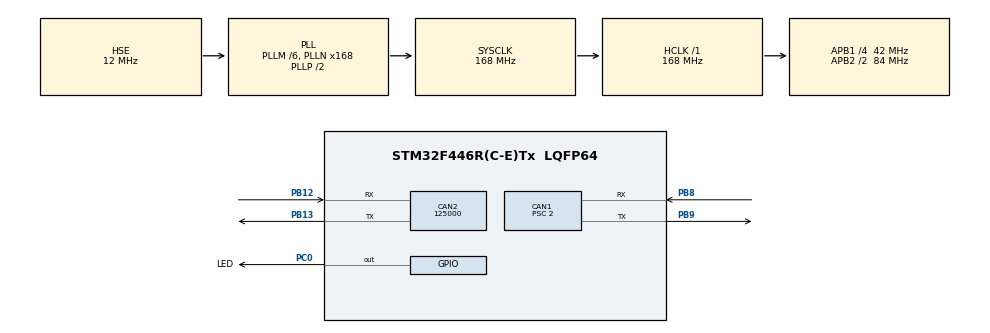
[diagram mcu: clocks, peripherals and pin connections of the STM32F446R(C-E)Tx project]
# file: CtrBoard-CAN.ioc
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CAN1.BS1=CAN_BS1_15TQ
CAN1.BS2=CAN_BS2_5TQ
CAN1.CalculateBaudRate=1000000
CAN1.CalculateTimeQuantum=47.61904761904762
CAN1.Prescaler=2
CAN2.BS1=CAN_BS1_15TQ
CAN2.BS2=CAN_BS2_5TQ
CAN2.CalculateBaudRate=125000
CAN2.CalculateTimeBit=8000
CAN2.CalculateTimeQuantum=380.95238095238096
Mcu.Family=STM32F4
Mcu.Name=STM32F446R(C-E)Tx
Mcu.Package=LQFP64
NVIC.CAN1_RX0_IRQn=true\:0\:0\:false\:false\:true\:true\:true\:true
NVIC.PriorityGroup=NVIC_PRIORITYGROUP_4
PA13.Mode=Serial_Wire
PA13.Signal=SYS_JTMS-SWDIO
PA14.Mode=Serial_Wire
PA14.Signal=SYS_JTCK-SWCLK
PB12.Mode=CAN_Activate
PB12.Signal=CAN2_RX
PB13.Mode=CAN_Activate
PB13.Signal=CAN2_TX
PB8.Mode=CAN_Activate
PB8.Signal=CAN1_RX
PB9.Mode=CAN_Activate
PB9.Signal=CAN1_TX
PC0.GPIO_Label=LED
PC0.GPIO_ModeDefaultOutputPP=GPIO_MODE_OUTPUT_PP
PC0.GPIO_PuPd=GPIO_NOPULL
PC0.GPIO_Speed=GPIO_SPEED_FREQ_LOW
PC0.PinState=GPIO_PIN_RESET
PC0.Signal=GPIO_Output
PH0-OSC_IN.Mode=HSE-External-Oscillator
PH0-OSC_IN.Signal=RCC_OSC_IN
PH1-OSC_OUT.Mode=HSE-External-Oscillator
PH1-OSC_OUT.Signal=RCC_OSC_OUT
ProjectManager.HeapSize=0x400
ProjectManager.StackSize=0x800
ProjectManager.TargetToolchain=MDK-ARM V5.27
RCC.AHBFreq_Value=168000000
RCC.APB1CLKDivider=RCC_HCLK_DIV4
RCC.APB1Freq_Value=42000000
RCC.APB1TimFreq_Value=84000000
RCC.APB2CLKDivider=RCC_HCLK_DIV2
RCC.APB2Freq_Value=84000000
RCC.APB2TimFreq_Value=168000000
RCC.CortexFreq_Value=168000000
RCC.HCLKFreq_Value=168000000
RCC.HSE_VALUE=12000000
RCC.PLLM=6
RCC.PLLN=168
RCC.PLLQ=7
RCC.PLLSAIM=6
RCC.PLLSAIN=96
RCC.PLLSAIP=RCC_PLLSAIP_DIV4
RCC.PLLSourceVirtual=RCC_PLLSOURCE_HSE
RCC.SYSCLKFreq_VALUE=168000000
RCC.SYSCLKSource=RCC_SYSCLKSOURCE_PLLCLK
RCC.USBFreq_Value=48000000
RCC.VCOOutputFreq_Value=336000000
board=custom

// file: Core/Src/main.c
/* USER CODE BEGIN Header */
/**
  ******************************************************************************
  * @file           : main.c
  * @brief          : Main program body
  ******************************************************************************
  * @attention
  *
  * <h2><center>&copy; Copyright (c) 2023 STMicroelectronics.
  * All rights reserved.</center></h2>
  *
  * This software component is licensed by ST under BSD 3-Clause license,
  * the "License"; You may not use this file except in compliance with the
  * License. You may obtain a copy of the License at:
  *                        opensource.org/licenses/BSD-3-Clause
  *
  ******************************************************************************
  */
/* USER CODE END Header */
#include "main.h"
#include "can.h"
#include "gpio.h"

void SystemClock_Config(void);

/* USER CODE BEGIN 0 */
uint8_t CANx_SendStdData(CAN_HandleTypeDef* hcan,uint16_t ID,uint8_t *pData,uint16_t Len);
uint8_t Data[8]={0,1,2,3,4,5,6,7};
extern CAN_HandleTypeDef hcan1;
extern CAN_HandleTypeDef hcan2;
/* USER CODE END 0 */

int main(void)
{

  /* MCU Configuration--------------------------------------------------------*/

  /* Reset of all peripherals, Initializes the Flash interface and the Systick. */
  HAL_Init();

  /* Configure the system clock */
  SystemClock_Config();

  /* Initialize all configured peripherals */
  MX_GPIO_Init();
  MX_CAN1_Init();
  MX_CAN2_Init();
  /* USER CODE BEGIN 2 */
  can_filter_init();

  /* USER CODE END 2 */

  /* Infinite loop */
  while (1)
  {

    /* USER CODE BEGIN 3 */
    CANx_SendStdData(&hcan1,1,Data,8);
    CANx_SendStdData(&hcan2,2,Data,8);
    HAL_Delay(100);
  }
  /* USER CODE END 3 */
}

void SystemClock_Config(void)
{
  RCC_OscInitTypeDef RCC_OscInitStruct = {0};
  RCC_ClkInitTypeDef RCC_ClkInitStruct = {0};

  /** Configure the main internal regulator output voltage
  */
  __HAL_RCC_PWR_CLK_ENABLE();
  __HAL_PWR_VOLTAGESCALING_CONFIG(PWR_REGULATOR_VOLTAGE_SCALE1);

  /** Initializes the RCC Oscillators according to the specified parameters
  * in the RCC_OscInitTypeDef structure.
  */
  RCC_OscInitStruct.OscillatorType = RCC_OSCILLATORTYPE_HSE;
  RCC_OscInitStruct.HSEState = RCC_HSE_ON;
  RCC_OscInitStruct.PLL.PLLState = RCC_PLL_ON;
  RCC_OscInitStruct.PLL.PLLSource = RCC_PLLSOURCE_HSE;
  RCC_OscInitStruct.PLL.PLLM = 6;
  RCC_OscInitStruct.PLL.PLLN = 168;
  RCC_OscInitStruct.PLL.PLLP = RCC_PLLP_DIV2;
  RCC_OscInitStruct.PLL.PLLQ = 7;
  RCC_OscInitStruct.PLL.PLLR = 2;
  if (HAL_RCC_OscConfig(&RCC_OscInitStruct) != HAL_OK)
  {
    Error_Handler();
  }

  /** Initializes the CPU, AHB and APB buses clocks
  */
  RCC_ClkInitStruct.ClockType = RCC_CLOCKTYPE_HCLK|RCC_CLOCKTYPE_SYSCLK
                              |RCC_CLOCKTYPE_PCLK1|RCC_CLOCKTYPE_PCLK2;
  RCC_ClkInitStruct.SYSCLKSource = RCC_SYSCLKSOURCE_PLLCLK;
  RCC_ClkInitStruct.AHBCLKDivider = RCC_SYSCLK_DIV1;
  RCC_ClkInitStruct.APB1CLKDivider = RCC_HCLK_DIV4;
  RCC_ClkInitStruct.APB2CLKDivider = RCC_HCLK_DIV2;

  if (HAL_RCC_ClockConfig(&RCC_ClkInitStruct, FLASH_LATENCY_5) != HAL_OK)
  {
    Error_Handler();
  }
}

/* USER CODE BEGIN 4 */
/**
 * @brief  发送标准ID的数据帧
 * @param  hcan     CAN的句柄
 * @param  ID       数据帧ID
 * @param  pData    数组指针
 * @param  Len      字节数0~8
 */
uint8_t CANx_SendStdData(CAN_HandleTypeDef* hcan,uint16_t ID,uint8_t *pData,uint16_t Len)
{
  static CAN_TxHeaderTypeDef   Tx_Header;

	Tx_Header.StdId=ID;
	Tx_Header.ExtId=0;
	Tx_Header.IDE=0;
	Tx_Header.RTR=0;
	Tx_Header.DLC=Len;
        /*找到空的发送邮箱，把数据发送出去*/
	if(HAL_CAN_AddTxMessage(hcan, &Tx_Header, pData, (uint32_t*)CAN_TX_MAILBOX0) != HAL_OK) //
	{
		if(HAL_CAN_AddTxMessage(hcan, &Tx_Header, pData, (uint32_t*)CAN_TX_MAILBOX1) != HAL_OK)
		{
			HAL_CAN_AddTxMessage(hcan, &Tx_Header, pData, (uint32_t*)CAN_TX_MAILBOX2);
        }
    }
    return 0;
}

/* USER CODE END 4 */

void Error_Handler(void)
{
}
